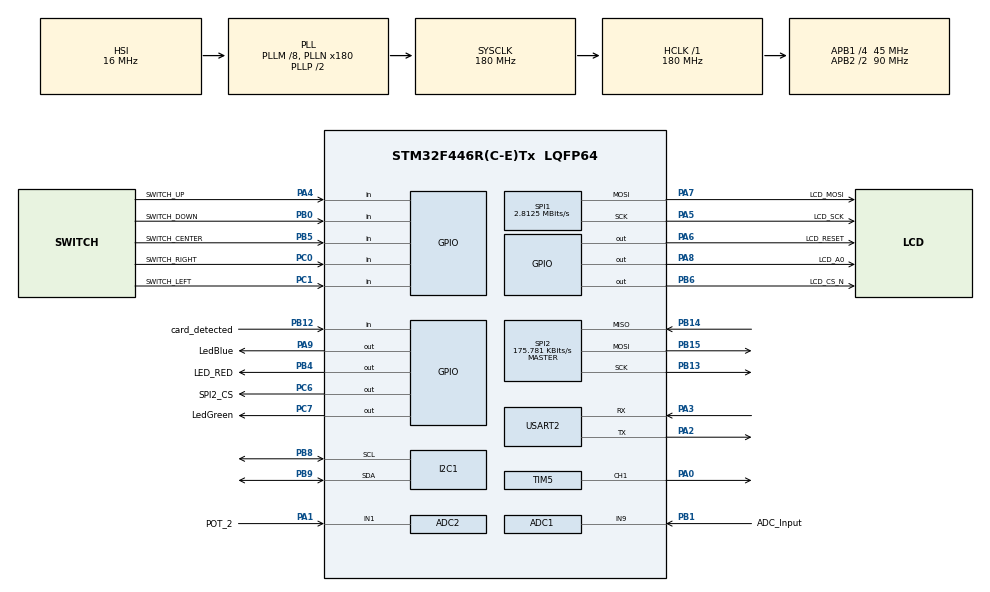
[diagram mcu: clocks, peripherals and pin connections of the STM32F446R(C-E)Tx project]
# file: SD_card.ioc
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ADC1.Channel-2\#ChannelRegularConversion=ADC_CHANNEL_9
ADC1.NbrOfConversionFlag=1
ADC1.Rank-2\#ChannelRegularConversion=1
ADC1.SamplingTime-2\#ChannelRegularConversion=ADC_SAMPLETIME_3CYCLES
ADC1.master=1
ADC2.Channel-0\#ChannelRegularConversion=ADC_CHANNEL_1
ADC2.ClockPrescaler=ADC_CLOCK_SYNC_PCLK_DIV4
ADC2.ContinuousConvMode=ENABLE
ADC2.DMAContinuousRequests=DISABLE
ADC2.DataAlign=ADC_DATAALIGN_RIGHT
ADC2.DiscontinuousConvMode=DISABLE
ADC2.EOCSelection=ADC_EOC_SEQ_CONV
ADC2.EnableAnalogWatchDog=false
ADC2.ExternalTrigConv=ADC_SOFTWARE_START
ADC2.ExternalTrigConvEdge=ADC_EXTERNALTRIGCONVEDGE_NONE
ADC2.InjNumberOfConversion=0
ADC2.NbrOfConversion=1
ADC2.NbrOfConversionFlag=1
ADC2.Rank-0\#ChannelRegularConversion=1
ADC2.Resolution=ADC_RESOLUTION_12B
ADC2.SamplingTime-0\#ChannelRegularConversion=ADC_SAMPLETIME_3CYCLES
ADC2.ScanConvMode=DISABLE
Dma.Request0=USART2_TX
Dma.Request1=USART2_RX
Dma.USART2_RX.1.Direction=DMA_PERIPH_TO_MEMORY
Dma.USART2_RX.1.FIFOMode=DMA_FIFOMODE_DISABLE
Dma.USART2_RX.1.Instance=DMA1_Stream5
Dma.USART2_RX.1.MemDataAlignment=DMA_MDATAALIGN_BYTE
Dma.USART2_RX.1.MemInc=DMA_MINC_ENABLE
Dma.USART2_RX.1.Mode=DMA_CIRCULAR
Dma.USART2_RX.1.PeriphDataAlignment=DMA_PDATAALIGN_BYTE
Dma.USART2_RX.1.PeriphInc=DMA_PINC_DISABLE
Dma.USART2_RX.1.Priority=DMA_PRIORITY_MEDIUM
Dma.USART2_TX.0.Direction=DMA_MEMORY_TO_PERIPH
Dma.USART2_TX.0.FIFOMode=DMA_FIFOMODE_DISABLE
Dma.USART2_TX.0.Instance=DMA1_Stream6
Dma.USART2_TX.0.MemDataAlignment=DMA_MDATAALIGN_BYTE
Dma.USART2_TX.0.MemInc=DMA_MINC_ENABLE
Dma.USART2_TX.0.Mode=DMA_NORMAL
Dma.USART2_TX.0.PeriphDataAlignment=DMA_PDATAALIGN_BYTE
Dma.USART2_TX.0.PeriphInc=DMA_PINC_DISABLE
Dma.USART2_TX.0.Priority=DMA_PRIORITY_MEDIUM
Mcu.Family=STM32F4
Mcu.Name=STM32F446R(C-E)Tx
Mcu.Package=LQFP64
NVIC.ADC_IRQn=true\:1\:0\:true\:false\:true\:true
NVIC.DMA1_Stream5_IRQn=true\:0\:0\:false\:false\:true\:false
NVIC.DMA1_Stream6_IRQn=true\:0\:0\:false\:false\:true\:false
NVIC.PriorityGroup=NVIC_PRIORITYGROUP_4
NVIC.TIM3_IRQn=true\:1\:0\:true\:false\:true\:true
NVIC.TIM5_IRQn=true\:1\:0\:true\:false\:true\:true
NVIC.USART2_IRQn=true\:2\:0\:true\:false\:true\:true
PA0-WKUP.Signal=S_TIM5_CH1
PA1.GPIO_Label=POT_2
PA1.Signal=ADCx_IN1
PA13.Mode=Serial_Wire
PA13.Signal=SYS_JTMS-SWDIO
PA14.Mode=Serial_Wire
PA14.Signal=SYS_JTCK-SWCLK
PA2.Mode=Asynchronous
PA2.Signal=USART2_TX
PA3.Mode=Asynchronous
PA3.Signal=USART2_RX
PA4.GPIO_Label=SWITCH_UP
PA4.Signal=GPIO_Input
PA5.GPIO_Label=LCD_SCK
PA5.Mode=TX_Only_Simplex_Unidirect_Master
PA5.Signal=SPI1_SCK
PA6.GPIO_Label=LCD_RESET
PA6.Signal=GPIO_Output
PA7.GPIO_Label=LCD_MOSI
PA7.Mode=TX_Only_Simplex_Unidirect_Master
PA7.Signal=SPI1_MOSI
PA8.GPIO_Label=LCD_A0
PA8.Signal=GPIO_Output
PA9.GPIO_Label=LedBlue
PA9.GPIO_Speed=GPIO_SPEED_FREQ_HIGH
PA9.PinState=GPIO_PIN_RESET
PA9.Signal=GPIO_Output
PB0.GPIO_Label=SWITCH_DOWN
PB0.Signal=GPIO_Input
PB1.GPIO_Label=ADC_Input
PB1.Signal=ADCx_IN9
PB12.GPIO_Label=card_detected
PB12.Signal=GPIO_Input
PB13.Mode=Full_Duplex_Master
PB13.Signal=SPI2_SCK
PB14.Mode=Full_Duplex_Master
PB14.Signal=SPI2_MISO
PB15.Mode=Full_Duplex_Master
PB15.Signal=SPI2_MOSI
PB4.GPIO_Label=LED_RED
PB4.Signal=GPIO_Output
PB5.GPIO_Label=SWITCH_CENTER
PB5.Signal=GPIO_Input
PB6.GPIO_Label=LCD_CS_N
PB6.Signal=GPIO_Output
PB8.Mode=I2C
PB8.Signal=I2C1_SCL
PB9.Mode=I2C
PB9.Signal=I2C1_SDA
PC0.GPIO_Label=SWITCH_RIGHT
PC0.Signal=GPIO_Input
PC1.GPIO_Label=SWITCH_LEFT
PC1.Signal=GPIO_Input
PC6.GPIO_Label=SPI2_CS
PC6.Signal=GPIO_Output
PC7.GPIO_Label=LedGreen
PC7.Signal=GPIO_Output
PH0-OSC_IN.Mode=HSE-External-Oscillator
PH0-OSC_IN.Signal=RCC_OSC_IN
PH1-OSC_OUT.Mode=HSE-External-Oscillator
PH1-OSC_OUT.Signal=RCC_OSC_OUT
ProjectManager.HeapSize=0x200
ProjectManager.StackSize=0x400
ProjectManager.TargetToolchain=MDK-ARM V5
RCC.AHBFreq_Value=180000000
RCC.APB1CLKDivider=RCC_HCLK_DIV4
RCC.APB1Freq_Value=45000000
RCC.APB1TimFreq_Value=90000000
RCC.APB2CLKDivider=RCC_HCLK_DIV2
RCC.APB2Freq_Value=90000000
RCC.APB2TimFreq_Value=180000000
RCC.CortexFreq_Value=180000000
RCC.HCLKFreq_Value=180000000
RCC.PLLM=8
RCC.PLLN=180
RCC.SYSCLKFreq_VALUE=180000000
RCC.SYSCLKSource=RCC_SYSCLKSOURCE_PLLCLK
RCC.USBFreq_Value=180000000
RCC.VCOOutputFreq_Value=360000000
SH.ADCx_IN1.0=ADC2_IN1,IN1
SH.ADCx_IN9.0=ADC1_IN9,IN9
SH.S_TIM5_CH1.0=TIM5_CH1,Output Compare1 CH1
SPI1.BaudRatePrescaler=SPI_BAUDRATEPRESCALER_32
SPI1.CalculateBaudRate=2.8125 MBits/s
SPI1.Direction=SPI_DIRECTION_2LINES
SPI1.Mode=SPI_MODE_MASTER
SPI1.VirtualType=VM_MASTER
SPI2.BaudRatePrescaler=SPI_BAUDRATEPRESCALER_256
SPI2.CalculateBaudRate=175.781 KBits/s
SPI2.Direction=SPI_DIRECTION_2LINES
SPI2.Mode=SPI_MODE_MASTER
SPI2.VirtualType=VM_MASTER
TIM3.Period=100-1
TIM3.Prescaler=9000-1
TIM5.Channel-Output\ Compare1\ CH1=TIM_CHANNEL_1
TIM5.Period=100
TIM5.Prescaler=4500-1
USART2.VirtualMode=VM_ASYNC
VP_FATFS_VS_Generic.Mode=User_defined
VP_TIM3_VS_ClockSourceINT.Mode=Internal
VP_TIM5_VS_ClockSourceINT.Mode=Internal
board=custom

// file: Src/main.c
/**
  ******************************************************************************
  * @file           : main.c
  * @brief          : Main program body
  ******************************************************************************
  * This notice applies to any and all portions of this file
  * that are not between comment pairs USER CODE BEGIN and
  * USER CODE END. Other portions of this file, whether
  * inserted by the user or by software development tools
  * are owned by their respective copyright owners.
  *
  * Copyright (c) 2018 STMicroelectronics International N.V.
  * All rights reserved.
  *
  * Redistribution and use in source and binary forms, with or without
  * modification, are permitted, provided that the following conditions are met:
  *
  * 1. Redistribution of source code must retain the above copyright notice,
  *    this list of conditions and the following disclaimer.
  * 2. Redistributions in binary form must reproduce the above copyright notice,
  *    this list of conditions and the following disclaimer in the documentation
  *    and/or other materials provided with the distribution.
  * 3. Neither the name of STMicroelectronics nor the names of other
  *    contributors to this software may be used to endorse or promote products
  *    derived from this software without specific written permission.
  * 4. This software, including modifications and/or derivative works of this
  *    software, must execute solely and exclusively on microcontroller or
  *    microprocessor devices manufactured by or for STMicroelectronics.
  * 5. Redistribution and use of this software other than as permitted under
  *    this license is void and will automatically terminate your rights under
  *    this license.
  *
  * THIS SOFTWARE IS PROVIDED BY STMICROELECTRONICS AND CONTRIBUTORS "AS IS"
  * AND ANY EXPRESS, IMPLIED OR STATUTORY WARRANTIES, INCLUDING, BUT NOT
  * LIMITED TO, THE IMPLIED WARRANTIES OF MERCHANTABILITY, FITNESS FOR A
  * PARTICULAR PURPOSE AND NON-INFRINGEMENT OF THIRD PARTY INTELLECTUAL PROPERTY
  * RIGHTS ARE DISCLAIMED TO THE FULLEST EXTENT PERMITTED BY LAW. IN NO EVENT
  * SHALL STMICROELECTRONICS OR CONTRIBUTORS BE LIABLE FOR ANY DIRECT, INDIRECT,
  * INCIDENTAL, SPECIAL, EXEMPLARY, OR CONSEQUENTIAL DAMAGES (INCLUDING, BUT NOT
  * LIMITED TO, PROCUREMENT OF SUBSTITUTE GOODS OR SERVICES; LOSS OF USE, DATA,
  * OR PROFITS; OR BUSINESS INTERRUPTION) HOWEVER CAUSED AND ON ANY THEORY OF
  * LIABILITY, WHETHER IN CONTRACT, STRICT LIABILITY, OR TORT (INCLUDING
  * NEGLIGENCE OR OTHERWISE) ARISING IN ANY WAY OUT OF THE USE OF THIS SOFTWARE,
  * EVEN IF ADVISED OF THE POSSIBILITY OF SUCH DAMAGE.
  *
  ******************************************************************************
  */
#include "main.h"
#include "stm32f4xx_hal.h"
#include "adc.h"
#include "dma.h"
#include "fatfs.h"
#include "i2c.h"
#include "spi.h"
#include "tim.h"
#include "usart.h"
#include "gpio.h"

/* USER CODE BEGIN Includes */
#include "stdio.h"
#include "string.h"
#include "stdbool.h"
#include "interface_SDCARD_pincinato.h"
//#include "sdcard.h"
//#include "fatfs.h"

/* USER CODE END Includes */

/* USER CODE BEGIN PV */
//

/* Private variables ---------------------------------------------------------*/
//#define POT_1_HANDLE hadc1
#define POT_2_HANDLE hadc2
/* USER CODE END PV */

void SystemClock_Config(void);

/* USER CODE BEGIN PFP */
/* Private function prototypes -----------------------------------------------*/
void ClearString(void);
/* USER CODE END PFP */

int main(void)
{

  /* MCU Configuration----------------------------------------------------------*/

  /* Reset of all peripherals, Initializes the Flash interface and the Systick. */
  HAL_Init();

  /* Configure the system clock */
  SystemClock_Config();

  /* Initialize all configured peripherals */
  MX_GPIO_Init();
  MX_DMA_Init();
  MX_SPI1_Init();
  MX_USART2_UART_Init();
  MX_ADC2_Init();
  MX_TIM3_Init();
  MX_TIM5_Init();
  MX_I2C1_Init();
  MX_ADC1_Init();
  MX_SPI2_Init();
  //MX_FATFS_Init();

  /* Infinite loop */
  /* USER CODE BEGIN WHILE */
	HAL_GPIO_WritePin(LedBlue_GPIO_Port,LedBlue_Pin,GPIO_PIN_SET);
	HAL_GPIO_WritePin(LedGreen_GPIO_Port,LedGreen_Pin,GPIO_PIN_SET);
	HAL_GPIO_WritePin(LED_RED_GPIO_Port,LED_RED_Pin,GPIO_PIN_SET);

	static uint8_t ACKCommand[12]="";
	uint8_t Command[7];
	static bool ret;
	static uint8_t dataRead[4]="";
	static uint8_t dataWrite[4]={73,98,122,0x00};

	if(initSDCARDInterface()){
			if(SDCardWriteBytes(&dataWrite[0],3,0x90)){
					//if(SDCardReadBytes(&dataRead[0],3, 0x90)){
						ret=!ret;
					//}
			}
	}
	HAL_Delay(5000);
	SDCardReadBytes(&dataRead[0],3, 0x90);
	ret=!ret;
	//Write block 			Working
	/*
	Command[0]=CMD24;
	Command[1]=0x00;
	Command[2]=0x00;
	Command[3]=0x00;
	Command[4]=0x90;
	Command[5]=0x01;
	HAL_SPI_Transmit(&hspi2,&Command[0],6,100);
	Command[0]= 0xff;
	Command[1]= 0xff;
	Command[2]= 0xff;
	Command[3]= 0xff;
	HAL_SPI_Transmit(&hspi2,&Command[0],4,100);
	Command[0]=0xFE; //token
	Command[1]=0xAA;
	Command[2]=0xBB;
	Command[3]=0xCC;
	HAL_SPI_Transmit(&hspi2,&Command[0],4,100);
	Command[0]=0xFF;
	for(int i=0;i<5000;++i){
			Command[0]= 0xff;
			HAL_SPI_Transmit(&hspi2,&Command[0],1,100);
	}
	*/
	/*
	while(ACKCommand[0]==0x01){
		HAL_SPI_Transmit(&hspi2,&Command[0],2,1);
		HAL_SPI_Receive(&hspi2,&ACKCommand[0],1,1);
	}*/

  while (1)
  {
  /* USER CODE END WHILE */

	}

}

void SystemClock_Config(void)
{

  RCC_OscInitTypeDef RCC_OscInitStruct;
  RCC_ClkInitTypeDef RCC_ClkInitStruct;

    /**Configure the main internal regulator output voltage
    */
  __HAL_RCC_PWR_CLK_ENABLE();

  __HAL_PWR_VOLTAGESCALING_CONFIG(PWR_REGULATOR_VOLTAGE_SCALE1);

    /**Initializes the CPU, AHB and APB busses clocks
    */
  RCC_OscInitStruct.OscillatorType = RCC_OSCILLATORTYPE_HSI;
  RCC_OscInitStruct.HSIState = RCC_HSI_ON;
  RCC_OscInitStruct.HSICalibrationValue = 16;
  RCC_OscInitStruct.PLL.PLLState = RCC_PLL_ON;
  RCC_OscInitStruct.PLL.PLLSource = RCC_PLLSOURCE_HSI;
  RCC_OscInitStruct.PLL.PLLM = 8;
  RCC_OscInitStruct.PLL.PLLN = 180;
  RCC_OscInitStruct.PLL.PLLP = RCC_PLLP_DIV2;
  RCC_OscInitStruct.PLL.PLLQ = 2;
  RCC_OscInitStruct.PLL.PLLR = 2;
  if (HAL_RCC_OscConfig(&RCC_OscInitStruct) != HAL_OK)
  {
    _Error_Handler(__FILE__, __LINE__);
  }

    /**Activate the Over-Drive mode
    */
  if (HAL_PWREx_EnableOverDrive() != HAL_OK)
  {
    _Error_Handler(__FILE__, __LINE__);
  }

    /**Initializes the CPU, AHB and APB busses clocks
    */
  RCC_ClkInitStruct.ClockType = RCC_CLOCKTYPE_HCLK|RCC_CLOCKTYPE_SYSCLK
                              |RCC_CLOCKTYPE_PCLK1|RCC_CLOCKTYPE_PCLK2;
  RCC_ClkInitStruct.SYSCLKSource = RCC_SYSCLKSOURCE_PLLCLK;
  RCC_ClkInitStruct.AHBCLKDivider = RCC_SYSCLK_DIV1;
  RCC_ClkInitStruct.APB1CLKDivider = RCC_HCLK_DIV4;
  RCC_ClkInitStruct.APB2CLKDivider = RCC_HCLK_DIV2;

  if (HAL_RCC_ClockConfig(&RCC_ClkInitStruct, FLASH_LATENCY_5) != HAL_OK)
  {
    _Error_Handler(__FILE__, __LINE__);
  }

    /**Configure the Systick interrupt time
    */
  HAL_SYSTICK_Config(HAL_RCC_GetHCLKFreq()/1000);

    /**Configure the Systick
    */
  HAL_SYSTICK_CLKSourceConfig(SYSTICK_CLKSOURCE_HCLK);

  /* SysTick_IRQn interrupt configuration */
  HAL_NVIC_SetPriority(SysTick_IRQn, 0, 0);
}

void _Error_Handler(char *file, int line)
{
  while(1)
  {
  }
}

/************************ (C) COPYRIGHT STMicroelectronics *****END OF FILE****/
